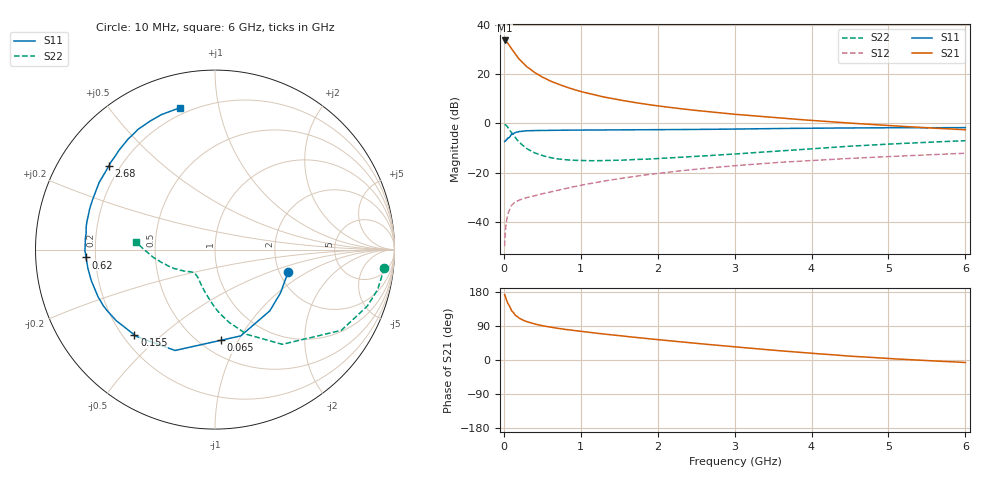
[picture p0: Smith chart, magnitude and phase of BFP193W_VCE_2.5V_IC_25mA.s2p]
! Infineon Technologies  Discrete & RF Semiconductors
! BFP193W
! VCE = 2.5 V,  IC =  25 mA
! Common Emitter S-Parameters:  Jan 2016
# GHz  S  MA  R  50
!  f  S11  S21  S12  S22
! GHz  MAG  ANG  MAG  ANG  MAG  ANG  MAG  ANG
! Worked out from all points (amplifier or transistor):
!   210 points, 10 MHz to 6 GHz, reference 50 ohm
!   highest |S21| = 33.6 dB at 10 MHz (marker M1)
!   |S21| within 3 dB of that: start of sweep to 91.87 MHz
!   unconditionally stable (mu >= 1): 843.4 MHz to 3.975 GHz
!   at 185 MHz: K = 0.39, MSG = 29.0 dB, |S12| = -31.4 dB
!   at 1.52 GHz: K = 1.12, MAG = 13.8 dB, |S12| = -22.4 dB
!   at 6 GHz: K = 0.95, MSG = 4.8 dB, |S12| = -12.2 dB
!   S11 on the Smith chart (normalised r, x): 10 MHz: 2.24, -0.67; 65 MHz: 0.63, -0.85; 155 MHz: 0.25, -0.41; 620 MHz: 0.16, -0.03; 2.68 GHz: 0.16, +0.34; 6 GHz: 0.16, +0.77
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0.01  0.4262 -16.8  47.85 172.7  0.0032 85.2  0.9494 -6.1
0.02  0.4375 -33.4  47.27 167.1  0.0063 78.1  0.9331 -13.9
0.03  0.4579 -48.1  46.08 161.2  0.0092 74.0  0.9048 -20.4
0.05  0.5017 -73.4  42.41 150.0  0.014 65.1  0.8352 -32.6
0.065  0.5063 -86.2  39.03 145.2  0.0161 59.2  0.7682 -38.0
0.1  0.6045 -111.6  32.6 130.3  0.0215 50.3  0.6475 -54.6
0.15  0.6528 -132.2  25.11 117.9  0.0255 43.2  0.5055 -69.3
0.155  0.654 -133.4  24.57 117.3  0.0257 43.0  0.4955 -70.1
0.2  0.678 -144.3  19.96 110.3  0.0276 41.0  0.4116 -79.2
0.26  0.6966 -153.4  16.03 104.2  0.0297 39.8  0.3411 -87.7
0.3  0.7025 -158.0  13.98 100.9  0.0311 40.2  0.3041 -92.6
0.4  0.7106 -165.9  10.7 94.9  0.0338 42.0  0.2509 -101.7
0.5  0.7159 -171.6  8.658 90.3  0.037 44.7  0.2205 -108.7
0.62  0.7194 -176.5  7.051 86.1  0.0408 47.4  0.1985 -115.0
1.02  0.7246 172.2  4.322 75.2  0.0555 53.6  0.1751 -127.9
1.4  0.7315 164.2  3.178 66.4  0.0707 56.0  0.1765 -134.0
2.02  0.7403 152.7  2.23 53.4  0.0966 55.9  0.1932 -140.5
2.68  0.7525 141.9  1.7 40.7  0.1242 53.2  0.2211 -148.4
3.1  0.7653 135.5  1.476 33.1  0.1412 50.7  0.2434 -153.7
4.1  0.796 121.5  1.113 16.3  0.1793 44.1  0.3104 -167.3
5.1  0.8091 111.0  0.878 2.8  0.214 37.6  0.3839 -178.6
6  0.8143 103.7  0.738 -6.6  0.2459 32.2  0.4422 174.3
